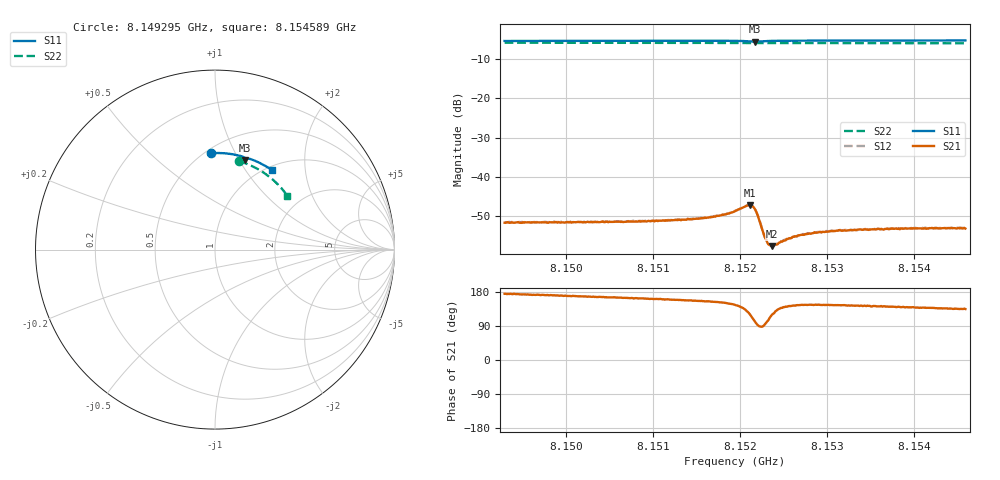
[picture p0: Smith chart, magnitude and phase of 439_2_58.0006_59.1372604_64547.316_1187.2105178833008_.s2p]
#  HZ  S  RI  R  50.00
! Rohde & Schwarz Vector Network Analyzer
! Rohde-Schwarz,ZNB20-2Port,1311601062101988,3.16
! Created: UTC 3/21/2024, 1:09:58 AM
! freq[Hz]  re:S11  im:S11  re:S21  im:S21  re:S12  im:S12  re:S22  im:S22
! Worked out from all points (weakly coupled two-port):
!   401 points, 8.149295 GHz to 8.154589 GHz, reference 50 ohm
!   highest |S21| = -47.18 dB at 8.152114 GHz (marker M1); lowest = -57.6 dB at 8.152366 GHz (marker M2)
!   lowest |S11| = -5.6 dB at 8.152167 GHz (marker M3), VSWR 3.23, Z = 38.3 + j53.1 ohm
!   |S11| at or under -10 dB: nowhere
!   |S22| runs from -6.0 to -5.8 dB; largest |S21 - S12| = 0.00011
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8.1492953e9  -0.0243 0.5367  -0.00259 0.000243  -0.00263 0.000274  0.1351 0.4924
8.150182e9  0.0376 0.5375  -0.00259 0.000561  -0.0026 0.000604  0.1886 0.4733
8.1510687e9  0.0992 0.531  -0.00262 0.000917  -0.00262 0.000967  0.2397 0.448
8.1515981e9  0.136 0.5233  -0.00273 0.0013  -0.00271 0.00127  0.2685 0.4304
8.1518363e9  0.1535 0.5181  -0.0029 0.00163  -0.00289 0.00172  0.2812 0.4218
8.1519422e9  0.1614 0.5144  -0.00301 0.00207  -0.00301 0.00216  0.2866 0.4178
8.1520613e9  0.1698 0.5072  -0.00286 0.00309  -0.00283 0.00316  0.2927 0.4131
8.1521142e9  0.1708 0.5023  -0.0022 0.00378  -0.00216 0.00386  0.2953 0.4111
8.1521407e9  0.1697 0.5005  -0.00158 0.00397  -0.00154 0.00401  0.2964 0.41
8.1521672e9  0.168 0.4997  -0.000884 0.00385  -0.000789 0.00388  0.2976 0.4091
8.1522069e9  0.1664 0.5017  -8.41e-05 0.00314  -3.91e-05 0.00317  0.2994 0.4075
8.152273e9  0.1691 0.5064  -3.51e-05 0.00185  -1.25e-05 0.00188  0.3029 0.4053
8.1522995e9  0.1716 0.5074  -0.000229 0.00158  -0.000207 0.00158  0.3042 0.4044
8.1523392e9  0.1751 0.5082  -0.000485 0.00128  -0.00047 0.00129  0.3062 0.4028
8.1523657e9  0.1775 0.5083  -0.00064 0.00114  -0.000613 0.00119  0.3074 0.4017
8.1524054e9  0.1809 0.5081  -0.000851 0.00107  -0.000849 0.00108  0.3095 0.4002
8.1525245e9  0.1905 0.5063  -0.00121 0.000982  -0.00123 0.00102  0.3155 0.3954
8.1526171e9  0.1973 0.5044  -0.00139 0.00102  -0.0014 0.00105  0.3201 0.3916
8.1528289e9  0.2121 0.4992  -0.00159 0.00108  -0.00158 0.00111  0.3299 0.3825
8.1531333e9  0.2322 0.491  -0.00171 0.00121  -0.00169 0.00121  0.3439 0.3695
8.1537156e9  0.2686 0.4729  -0.00167 0.00137  -0.0017 0.00142  0.3694 0.3429
8.1545891e9  0.32 0.4415  -0.00154 0.00157  -0.00159 0.0016  0.4032 0.2998
